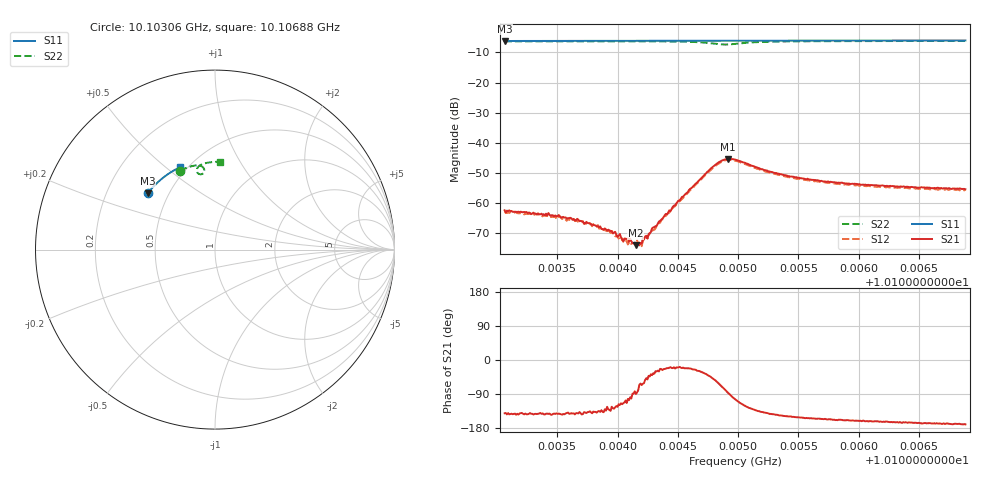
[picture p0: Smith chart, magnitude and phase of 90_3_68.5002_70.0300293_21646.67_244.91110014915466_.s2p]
#  HZ  S  RI  R  50.00
! Rohde & Schwarz Vector Network Analyzer
! Rohde-Schwarz,ZNB20-2Port,1311601062101988,3.16
! Created: UTC 3/20/2024, 4:52:38 PM
! freq[Hz]  re:S11  im:S11  re:S21  im:S21  re:S12  im:S12  re:S22  im:S22
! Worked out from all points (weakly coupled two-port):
!   401 points, 10.10306 GHz to 10.10688 GHz, reference 50 ohm
!   highest |S21| = -45.33 dB at 10.10492 GHz (marker M1); lowest = -74.0 dB at 10.10415 GHz (marker M2)
!   lowest |S11| = -6.2 dB at 10.10306 GHz (marker M3), VSWR 2.91, Z = 19.1 + j15.7 ohm
!   |S11| at or under -10 dB: nowhere
!   |S22| runs from -7.4 to -6.2 dB; largest |S21 - S12| = 0.00054
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1.0103063e10  -0.3753 0.3127  -0.000587 -0.000482  -0.000514 -0.000482  -0.1943 0.44
1.0103503e10  -0.3585 0.3336  -0.000481 -0.000375  -0.000436 -0.000418  -0.1672 0.4521
1.0103703e10  -0.3507 0.343  -0.000402 -0.000296  -0.000347 -0.000355  -0.1541 0.4572
1.0103818e10  -0.346 0.3481  -0.000311 -0.000291  -0.000278 -0.00029  -0.1463 0.4598
1.0103952e10  -0.3404 0.3539  -0.00019 -0.000288  -0.000184 -0.000289  -0.137 0.4626
1.0104047e10  -0.3365 0.3583  -9.32e-05 -0.00021  -8.47e-05 -0.000231  -0.1301 0.4647
1.0104086e10  -0.3348 0.3598  -5.71e-05 -0.000251  -2.93e-05 -0.000204  -0.1271 0.4654
1.0104153e10  -0.3319 0.3626  7.23e-07 -0.000199  7.44e-05 -0.000198  -0.1221 0.4666
1.0104172e10  -0.331 0.3635  3.92e-05 -0.000213  9.57e-05 -0.000186  -0.1207 0.4669
1.0104191e10  -0.3302 0.3644  0.000102 -0.000194  0.000112 -0.00018  -0.119 0.4671
1.0104258e10  -0.3273 0.3671  0.000228 -0.000203  0.000228 -0.000181  -0.1135 0.4681
1.0104296e10  -0.3257 0.3688  0.000323 -0.000227  0.000317 -0.000172  -0.1101 0.4687
1.0104344e10  -0.3235 0.3709  0.000429 -0.000249  0.000429 -0.000183  -0.106 0.4691
1.0104516e10  -0.3159 0.3779  0.00106 -0.000348  0.00103 -0.000281  -0.0886 0.4688
1.0104764e10  -0.3045 0.3878  0.00263 -0.00242  0.00273 -0.00208  -0.06 0.4461
1.010485e10  -0.3004 0.391  0.00204 -0.00442  0.00232 -0.00408  -0.0653 0.4257
1.0104917e10  -0.2974 0.3934  0.00031 -0.00541  0.000734 -0.00514  -0.0827 0.4196
1.0104974e10  -0.2948 0.3957  -0.00121 -0.00514  -0.000713 -0.00499  -0.0958 0.4264
1.0105289e10  -0.2799 0.4077  -0.00258 -0.00195  -0.00231 -0.00206  -0.0845 0.4689
1.0105614e10  -0.2641 0.4192  -0.00219 -0.00105  -0.00201 -0.00119  -0.0579 0.4802
1.0106254e10  -0.2312 0.44  -0.00184 -0.000533  -0.0017 -0.000659  -0.012 0.4877
1.0106885e10  -0.1973 0.4577  -0.00167 -0.0003  -0.00161 -0.000439  0.0302 0.489
